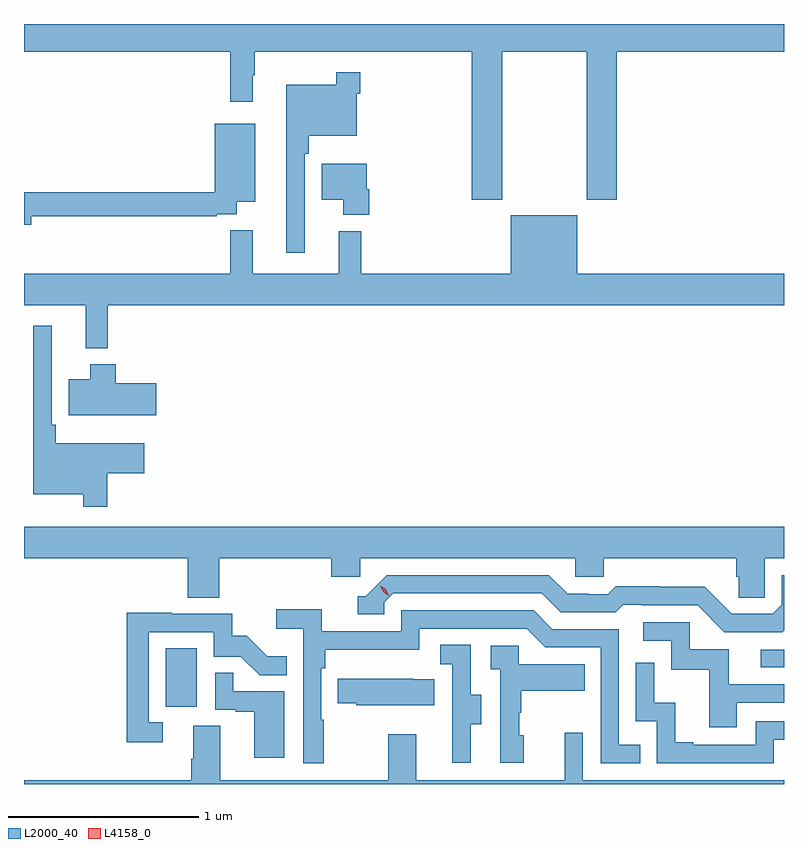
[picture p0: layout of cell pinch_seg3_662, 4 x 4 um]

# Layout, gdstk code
import gdstk
lib = gdstk.Library(unit=1e-6, precision=1e-09)
def R(c, l, rs):  # rectangles x0, y0, x1, y1
    for r in rs: c.add(gdstk.rectangle(r[:2], r[2:], *l))
def P(c, l, *ps):  # polygons
    for p in ps: c.add(gdstk.Polygon(p, *l))
L2000_40 = (2000, 40)
L4158_0 = (4158, 0)

pinch_seg3_662 = lib.new_cell('pinch_seg3_662')
R(pinch_seg3_662, L2000_40, [(1065.974,673.494,1066.138,673.801), (1069.107,673.701,1069.229,673.794)])
P(pinch_seg3_662, L2000_40, [(1067.745,676.94),(1068.19,676.94),(1068.19,676.161),(1068.35,676.161),(1068.35,676.94),(1069.229,676.94),(1069.229,677.087),(1065.229,677.087),(1065.229,676.94),(1066.315,676.94),(1066.315,676.677),(1066.432,676.677),(1066.432,676.817),(1066.444,676.817),(1066.444,676.94),(1067.585,676.94),(1067.585,676.161),(1067.745,676.161)],
  [(1066.707,676.403),(1066.727,676.403),(1066.727,676.499),(1066.98,676.499),(1066.98,676.721),(1067,676.721),(1067,676.834),(1066.872,676.834),(1066.872,676.768),(1066.61,676.768),(1066.61,675.882),(1066.707,675.882)],
  [(1065.268,676.074),(1066.244,676.074),(1066.244,676.086),(1066.348,676.086),(1066.348,676.151),(1066.447,676.151),(1066.447,676.561),(1066.232,676.561),(1066.232,676.202),(1065.229,676.202),(1065.229,676.031),(1065.268,676.031)],
  [(1067.045,676.218),(1067.032,676.218),(1067.032,676.351),(1066.796,676.351),(1066.796,676.163),(1066.91,676.163),(1066.91,676.082),(1067.045,676.082)],
  [(1065.671,675.608),(1069.229,675.608),(1069.229,675.772),(1068.142,675.772),(1068.142,676.081),(1067.792,676.081),(1067.792,675.772),(1067.003,675.772),(1067.003,675.997),(1066.886,675.997),(1066.886,675.772),(1066.433,675.772),(1066.433,676.001),(1066.315,676.001),(1066.315,675.772),(1065.229,675.772),(1065.229,675.608),(1065.554,675.608),(1065.554,675.38),(1065.671,675.38)],
  [(1065.668,674.723),(1065.862,674.723),(1065.862,674.881),(1065.395,674.881),(1065.395,674.977),(1065.375,674.977),(1065.375,675.499),(1065.278,675.499),(1065.278,674.612),(1065.54,674.612),(1065.54,674.547),(1065.668,674.547)],
  [(1065.925,675.195),(1065.713,675.195),(1065.713,675.295),(1065.578,675.295),(1065.578,675.217),(1065.464,675.217),(1065.464,675.029),(1065.925,675.029)],
  [(1066.256,674.276),(1066.847,674.276),(1066.847,674.178),(1066.998,674.178),(1066.998,674.276),(1068.129,674.276),(1068.129,674.178),(1068.279,674.178),(1068.279,674.276),(1068.977,674.276),(1068.977,674.178),(1068.991,674.178),(1068.991,674.068),(1069.128,674.068),(1069.128,674.276),(1069.229,674.276),(1069.229,674.44),(1065.229,674.44),(1065.229,674.276),(1066.091,674.276),(1066.091,674.068),(1066.256,674.068)],
  [(1069.229,673.895),(1069.229,674.187),(1069.218,674.187),(1069.218,674.031),(1069.17,673.983),(1068.954,673.983),(1068.812,674.125),(1068.576,674.125),(1068.576,674.128),(1068.343,674.128),(1068.301,674.085),(1068.198,674.085),(1068.198,674.088),(1068.091,674.088),(1067.992,674.187),(1067.139,674.187),(1067.028,674.076),(1066.985,674.076),(1066.985,673.98),(1067.124,673.98),(1067.124,674.043),(1067.172,674.091),(1067.955,674.091),(1068.054,673.992),(1068.343,673.992),(1068.382,674.031),(1068.481,674.031),(1068.481,674.028),(1068.774,674.028),(1068.915,673.887),(1069.221,673.887)],
  [(1066.807,673.424),(1066.794,673.424),(1066.794,673.697),(1066.814,673.697),(1066.814,673.793),(1067.31,673.793),(1067.31,673.905),(1067.874,673.905),(1067.973,673.806),(1068.264,673.806),(1068.264,673.197),(1068.473,673.197),(1068.473,673.293),(1068.36,673.293),(1068.36,673.902),(1068.01,673.902),(1067.911,674.001),(1067.214,674.001),(1067.214,673.89),(1066.796,673.89),(1066.796,674.006),(1066.557,674.006),(1066.557,673.904),(1066.698,673.904),(1066.698,673.197),(1066.807,673.197)],
  [(1065.958,673.413),(1065.885,673.413),(1065.885,673.887),(1066.227,673.887),(1066.227,673.758),(1066.371,673.758),(1066.469,673.66),(1066.613,673.66),(1066.613,673.759),(1066.509,673.759),(1066.402,673.866),(1066.326,673.866),(1066.326,673.983),(1066.007,673.983),(1066.007,673.988),(1065.769,673.988),(1065.769,673.308),(1065.958,673.308)],
  [(1068.979,673.515),(1069.229,673.515),(1069.229,673.611),(1068.937,673.611),(1068.937,673.797),(1068.732,673.797),(1068.732,673.938),(1068.489,673.938),(1068.489,673.842),(1068.636,673.842),(1068.636,673.689),(1068.835,673.689),(1068.835,673.386),(1068.979,673.386)],
  [(1067.581,673.402),(1067.635,673.402),(1067.635,673.557),(1067.58,673.557),(1067.58,673.82),(1067.421,673.82),(1067.421,673.717),(1067.484,673.717),(1067.484,673.413),(1067.483,673.413),(1067.483,673.2),(1067.581,673.2)],
  [(1067.86,673.344),(1067.835,673.344),(1067.835,673.463),(1067.845,673.463),(1067.845,673.577),(1068.179,673.577),(1068.179,673.717),(1067.832,673.717),(1067.832,673.815),(1067.685,673.815),(1067.685,673.691),(1067.736,673.691),(1067.736,673.2),(1067.86,673.2)],
  [(1069.176,673.32),(1069.229,673.32),(1069.229,673.416),(1069.08,673.416),(1069.08,673.293),(1068.751,673.293),(1068.751,673.306),(1068.656,673.306),(1068.656,673.514),(1068.546,673.514),(1068.546,673.726),(1068.45,673.726),(1068.45,673.416),(1068.558,673.416),(1068.558,673.197),(1069.176,673.197)],
  [(1066.6,673.575),(1066.331,673.575),(1066.331,673.673),(1066.236,673.673),(1066.236,673.479),(1066.343,673.479),(1066.343,673.467),(1066.442,673.467),(1066.442,673.224),(1066.6,673.224)],
  [(1067.387,673.639),(1067.279,673.639),(1067.279,673.642),(1066.879,673.642),(1066.879,673.513),(1066.977,673.513),(1066.977,673.502),(1067.387,673.502)],
  [(1069.229,673.108),(1068.171,673.108),(1068.171,673.357),(1068.074,673.357),(1068.074,673.108),(1067.293,673.108),(1067.293,673.348),(1067.146,673.348),(1067.146,673.108),(1066.261,673.108),(1066.261,673.394),(1066.121,673.394),(1066.121,673.22),(1066.109,673.22),(1066.109,673.108),(1065.229,673.108),(1065.229,673.087),(1069.229,673.087)])
P(pinch_seg3_662, L4158_0, [(1067.149,674.078),(1067.119,674.098),(1067.103,674.131),(1067.103,674.131),(1067.103,674.131),(1067.134,674.111),(1067.149,674.079),(1067.149,674.078)])

lib.write_gds('pinch_seg3_662.gds')
